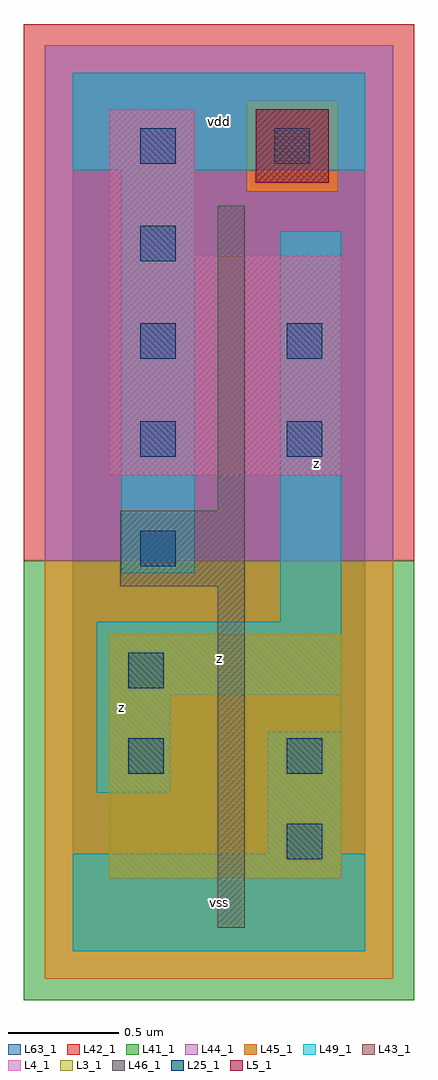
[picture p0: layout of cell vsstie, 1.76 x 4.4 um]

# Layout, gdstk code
import gdstk
lib = gdstk.Library(unit=1e-6, precision=1e-09)
def R(c, l, rs):  # rectangles x0, y0, x1, y1
    for r in rs: c.add(gdstk.rectangle(r[:2], r[2:], *l))
def A(c, l, x, y, w, h, nx, ny, dx, dy):  # array of equal rectangles
    R(c, l, [(x+i*dx, y+j*dy, x+i*dx+w, y+j*dy+h) for i in range(nx) for j in range(ny)])
L3_1 = (3, 1)
L4_1 = (4, 1)
L5_1 = (5, 1)
L25_1 = (25, 1)
L41_1 = (41, 1)
L42_1 = (42, 1)
L43_1 = (43, 1)
L44_1 = (44, 1)
L45_1 = (45, 1)
L46_1 = (46, 1)
L49_1 = (49, 1)
L63_1 = (63, 1)

vsstie = lib.new_cell('vsstie')
R(vsstie, L3_1, [(0.165,0.33,1.21,1.43)])
R(vsstie, L4_1, [(0.165,2.145,1.21,3.135), (0.165,3.135,0.55,3.795)])
R(vsstie, L5_1, [(0.825,3.465,1.155,3.795)])
A(vsstie, L25_1, 0.305, 2.23, 0.16, 0.16, 1, 4, 0, 0.44)
R(vsstie, L25_1, [(0.965,0.415,1.125,0.575), (0.25,0.8,0.41,0.96), (0.965,0.8,1.125,0.96), (0.25,1.185,0.41,1.345), (0.305,1.735,0.465,1.895), (0.965,2.23,1.125,2.39), (0.965,2.67,1.125,2.83), (0.91,3.55,1.07,3.71)])
R(vsstie, L41_1, [(-0.22,-0.22,1.54,1.76)])
R(vsstie, L42_1, [(-0.22,1.76,1.54,4.18)])
R(vsstie, L43_1, [(0.165,0.33,1.21,1.43), (0.165,2.145,1.21,3.135), (0.165,3.135,0.55,3.795), (0.825,3.465,1.155,3.795)])
R(vsstie, L44_1, [(-0.125,1.76,1.445,3.425), (-0.125,3.425,0.785,3.835), (1.195,3.425,1.445,3.835), (-0.125,3.835,1.445,4.085)])
R(vsstie, L45_1, [(-0.125,-0.125,1.445,1.76), (0.785,3.425,1.195,3.835)])
R(vsstie, L46_1, [(0.655,0.105,0.775,1.645), (0.215,1.645,0.775,1.985), (0.655,1.985,0.775,3.36)])
R(vsstie, L49_1, [(0,0,1.32,0.44), (0.88,0.44,1.21,0.99), (0.11,0.715,0.44,1.155), (0.11,1.155,1.21,1.485), (0.935,1.485,1.21,3.245), (0.22,1.705,0.55,3.52), (0,3.52,1.32,3.96)])
R(vsstie, L63_1, [(0,0,1.32,3.96)])
vsstie.add(gdstk.Label('z', (0.22,1.1), layer=49, texttype=1))
vsstie.add(gdstk.Label('vss', (0.66,0.22), layer=49, texttype=1))
vsstie.add(gdstk.Label('z', (0.66,1.32), layer=49, texttype=1))
vsstie.add(gdstk.Label('vdd', (0.66,3.74), layer=49, texttype=1))
vsstie.add(gdstk.Label('z', (1.1,2.2), layer=49, texttype=1))

lib.write_gds('vsstie.gds')
